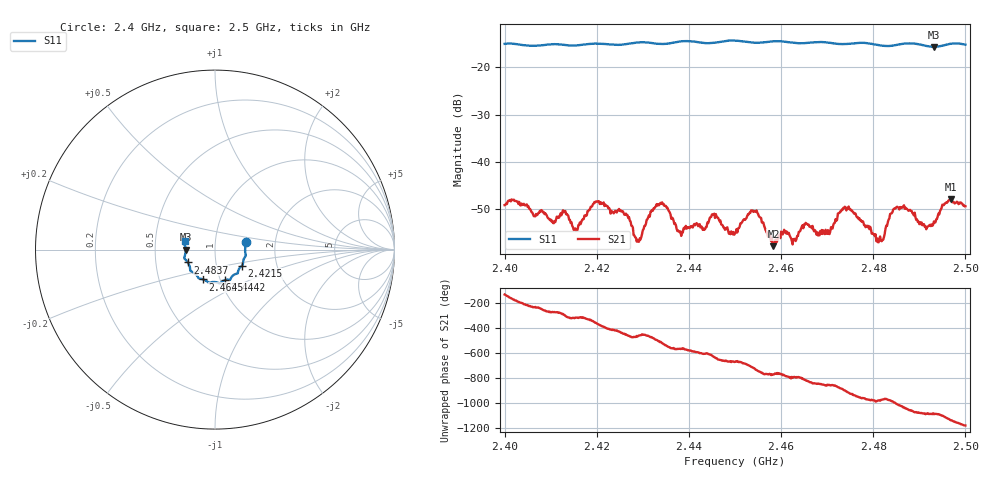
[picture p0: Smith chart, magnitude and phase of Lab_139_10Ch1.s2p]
# Hz S RI R 50
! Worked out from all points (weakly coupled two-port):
!   601 points, 2.4 GHz to 2.5 GHz, reference 50 ohm
!   highest |S21| = -47.77 dB at 2.4968 GHz (marker M1); lowest = -57.7 dB at 2.4583 GHz (marker M2)
!   lowest |S11| = -15.7 dB at 2.4932 GHz (marker M3), VSWR 1.39, Z = 35.9 - j0.0467 ohm
!   |S11| at or under -10 dB: start of sweep to end of sweep
!   S12 and S22 are empty: the file has one direction only
!   S11 on the Smith chart (normalised r, x): 2.4 GHz: 1.41, +0.12; 2.4215 GHz: 1.33, -0.25; 2.4442 GHz: 1.05, -0.37; 2.4645 GHz: 0.83, -0.29; 2.4837 GHz: 0.73, -0.11; 2.5 GHz: 0.71, +0.07
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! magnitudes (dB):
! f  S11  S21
! 2.4 GHz  -15.1  -49.1
! 2.4167 GHz  -15.3  -52.6
! 2.4215 GHz  -15.1  -48.5
! 2.4265 GHz  -15.1  -51.2
! 2.429 GHz  -14.8  -56.8
! 2.4333 GHz  -15.1  -48.9
! 2.438 GHz  -14.6  -54.8
! 2.4442 GHz  -15.0  -52.9
! 2.45 GHz  -14.4  -55.0
! 2.4542 GHz  -14.9  -50.3
! 2.4583 GHz  -14.6  -57.7
! 2.4645 GHz  -15.0  -53.6
! 2.4667 GHz  -14.8  -54.0
! 2.4703 GHz  -14.9  -55.1
! 2.4742 GHz  -15.1  -50.2
! 2.4815 GHz  -15.4  -55.7
! 2.4833 GHz  -15.6  -52.2
! 2.4837 GHz  -15.5  -50.9
! 2.4865 GHz  -15.1  -49.4
! 2.4932 GHz  -15.7  -52.5
! 2.4968 GHz  -15.1  -47.8
! 2.5 GHz  -15.3  -49.3
